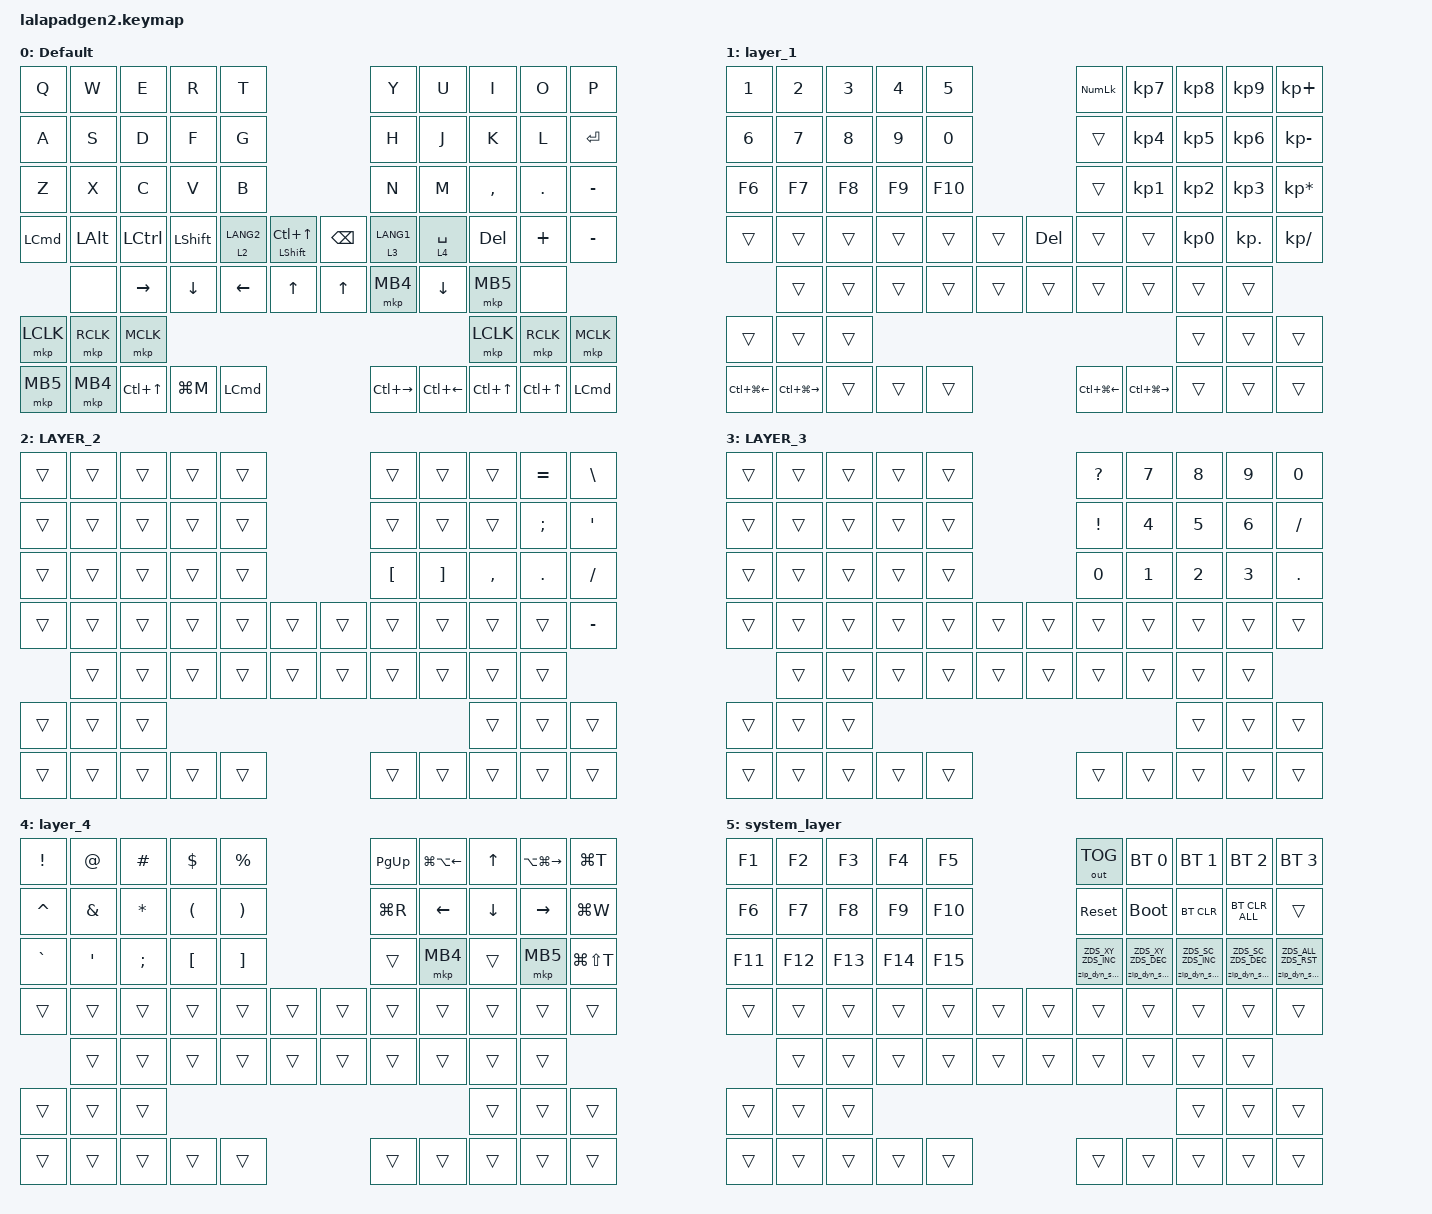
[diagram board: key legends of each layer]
#include <input/processors.dtsi>
#include <dt-bindings/zmk/zip_dynamic_scale.h>
#include <behaviors.dtsi>
#include <dt-bindings/zmk/bt.h>
#include <dt-bindings/zmk/keys.h>
#include <dt-bindings/zmk/outputs.h>
#include <dt-bindings/zmk/pointing.h>

#define DEFAULT_LAYER   0
#define SECONDARY_LAYER 1
#define TERTIARY_LAYER  2
#define SYSTEM_LAYER    3

&mt { quick-tap-ms = <200>; };

&lt { quick-tap-ms = <200>; };

/ {
    behaviors {
        zip_dyn_scale: zip_dyn_scale {
            compatible = "zmk,behavior-zip-dynamic-scale";
            #binding-cells = <2>;
        };

        zip_dyn_scale_set: zip_dyn_scale_set {
            compatible = "zmk,behavior-zip-dynamic-scale-set";
            #binding-cells = <2>;
        };

        mt2: mod_tap2 {
            compatible = "zmk,behavior-hold-tap";
            #binding-cells = <2>;
            flavor = "tap-preferred";
            tapping-term-ms = <200>;
            quick-tap-ms = <200>;
            require-prior-idle-ms = <125>;
            bindings = <&kp>, <&kp>;
        };

        tap_dance_layer_1and2: tap_dance_layer_1and2 {
            compatible = "zmk,behavior-tap-dance";
            label = "td_mo12";
            #binding-cells = <0>;
            bindings = <&mo 1>, <&mo 5>;
        };
    };

    combos {
        compatible = "zmk,combos";

        CONBO_ESC {
            bindings = <&kp ESCAPE>;
            key-positions = <0 1>;
        };

        COMBO_TAB {
            bindings = <&kp TAB>;
            key-positions = <10 11>;
        };
    };

    keymap {
        compatible = "zmk,keymap";

        DEFAULT_LAYER {
            display-name = "Default";
            bindings = <
&kp Q             &kp W         &kp E             &kp R           &kp T                                                         &kp Y                &kp U               &kp I             &kp O             &kp P
&kp A             &kp S         &kp D             &kp F           &kp G                                                         &kp H                &kp J               &kp K             &kp L             &kp ENTER
&kp Z             &kp X         &kp C             &kp V           &kp B                                                         &kp N                &kp M               &kp COMMA         &kp PERIOD        &kp MINUS
&kp LEFT_COMMAND  &kp LEFT_ALT  &kp LCTRL         &kp LEFT_SHIFT  &lt 2 LANG2       &mt LEFT_SHIFT LC(UP_ARROW)  &kp BACKSPACE  &lt 3 LANG1          &lt 4 SPACE         &kp DELETE        &kp PLUS          &kp MINUS
                  &none         &kp RIGHT         &kp DOWN        &kp LEFT          &kp UP                       &kp UP         &mkp MB4             &kp DOWN            &mkp MB5          &none
&mkp LCLK         &mkp RCLK     &mkp MCLK                                                                                                                                &mkp LCLK         &mkp RCLK         &mkp MCLK
&mkp MB5          &mkp MB4      &kp LC(UP_ARROW)  &kp LG(M)       &kp LEFT_COMMAND                                              &kp LC(RIGHT_ARROW)  &kp LC(LEFT_ARROW)  &kp LC(UP_ARROW)  &kp LC(UP_ARROW)  &kp LEFT_COMMAND
            >;
        };

        LAYER_1 {
            display-name = "layer_1";
            bindings = <
&kp NUMBER_1      &kp NUMBER_2       &kp NUMBER_3  &kp NUMBER_4  &kp N5                    &kp KP_NUMLOCK    &kp KP_NUMBER_7    &kp KP_NUMBER_8  &kp KP_NUMBER_9  &kp KP_PLUS
&kp NUMBER_6      &kp N7             &kp N8        &kp N9        &kp N0                    &trans            &kp KP_NUMBER_4    &kp KP_NUMBER_5  &kp KP_NUMBER_6  &kp KP_MINUS
&kp F6            &kp F7             &kp F8        &kp F9        &kp F10                   &trans            &kp KP_NUMBER_1    &kp KP_NUMBER_2  &kp KP_NUMBER_3  &kp KP_ASTERISK
&trans            &trans             &trans        &trans        &trans   &trans  &kp DEL  &trans            &trans             &kp KP_NUMBER_0  &kp KP_DOT       &kp KP_DIVIDE
                  &trans             &trans        &trans        &trans   &trans  &trans   &trans            &trans             &trans           &trans
&trans            &trans             &trans                                                                                     &trans           &trans           &trans
&kp LC(LG(LEFT))  &kp LC(LG(RIGHT))  &trans        &trans        &trans                    &kp LC(LG(LEFT))  &kp LC(LG(RIGHT))  &trans           &trans           &trans
            >;
        };

        LAYER_2 {
            bindings = <
&trans  &trans  &trans  &trans  &trans                  &trans            &trans             &trans     &kp EQUAL      &kp BACKSLASH
&trans  &trans  &trans  &trans  &trans                  &trans            &trans             &trans     &kp SEMICOLON  &kp SINGLE_QUOTE
&trans  &trans  &trans  &trans  &trans                  &kp LEFT_BRACKET  &kp RIGHT_BRACKET  &kp COMMA  &kp PERIOD     &kp SLASH
&trans  &trans  &trans  &trans  &trans  &trans  &trans  &trans            &trans             &trans     &trans         &kp MINUS
        &trans  &trans  &trans  &trans  &trans  &trans  &trans            &trans             &trans     &trans
&trans  &trans  &trans                                                                       &trans     &trans         &trans
&trans  &trans  &trans  &trans  &trans                  &trans            &trans             &trans     &trans         &trans
            >;
        };

        LAYER_3 {
            bindings = <
&trans  &trans  &trans  &trans  &trans                  &kp QUESTION     &kp NUMBER_7  &kp NUMBER_8  &kp NUMBER_9  &kp NUMBER_0
&trans  &trans  &trans  &trans  &trans                  &kp EXCLAMATION  &kp NUMBER_4  &kp NUMBER_5  &kp NUMBER_6  &kp SLASH
&trans  &trans  &trans  &trans  &trans                  &kp NUMBER_0     &kp NUMBER_1  &kp NUMBER_2  &kp NUMBER_3  &kp PERIOD
&trans  &trans  &trans  &trans  &trans  &trans  &trans  &trans           &trans        &trans        &trans        &trans
        &trans  &trans  &trans  &trans  &trans  &trans  &trans           &trans        &trans        &trans
&trans  &trans  &trans                                                                 &trans        &trans        &trans
&trans  &trans  &trans  &trans  &trans                  &trans           &trans        &trans        &trans        &trans
            >;
        };

        LAYER_4 {
            display-name = "layer_4";
            bindings = <
&kp EXCLAMATION  &kp AT_SIGN    &kp HASH      &kp DOLLAR            &kp PERCENT                            &kp PAGE_UP  &kp LG(LA(LEFT_ARROW))  &kp UP_ARROW    &kp LA(LG(RIGHT_ARROW))  &kp LG(T)
&kp CARET        &kp AMPERSAND  &kp ASTERISK  &kp LEFT_PARENTHESIS  &kp RIGHT_PARENTHESIS                  &kp LG(R)    &kp LEFT                &kp DOWN_ARROW  &kp RIGHT                &kp LG(W)
&kp GRAVE        &kp SQT        &kp SEMI      &kp LEFT_BRACKET      &kp RIGHT_BRACKET                      &trans       &mkp MB4                &trans          &mkp MB5                 &kp LG(LS(T))
&trans           &trans         &trans        &trans                &trans                 &trans  &trans  &trans       &trans                  &trans          &trans                   &trans
                 &trans         &trans        &trans                &trans                 &trans  &trans  &trans       &trans                  &trans          &trans
&trans           &trans         &trans                                                                                                          &trans          &trans                   &trans
&trans           &trans         &trans        &trans                &trans                                 &trans       &trans                  &trans          &trans                   &trans
            >;
        };

        SYSTEM_LAYER {
            display-name = "system_layer";
            bindings = <
&kp F1   &kp F2   &kp F3   &kp F4   &kp F5                   &out OUT_TOG                   &bt BT_SEL 0                   &bt BT_SEL 1                   &bt BT_SEL 2                   &bt BT_SEL 3
&kp F6   &kp F7   &kp F8   &kp F9   &kp F10                  &sys_reset                     &bootloader                    &bt BT_CLR                     &bt BT_CLR_ALL                 &trans
&kp F11  &kp F12  &kp F13  &kp F14  &kp F15                  &zip_dyn_scale ZDS_XY ZDS_INC  &zip_dyn_scale ZDS_XY ZDS_DEC  &zip_dyn_scale ZDS_SC ZDS_INC  &zip_dyn_scale ZDS_SC ZDS_DEC  &zip_dyn_scale ZDS_ALL ZDS_RST
&trans   &trans   &trans   &trans   &trans   &trans  &trans  &trans                         &trans                         &trans                         &trans                         &trans
         &trans   &trans   &trans   &trans   &trans  &trans  &trans                         &trans                         &trans                         &trans
&trans   &trans   &trans                                                                                                   &trans                         &trans                         &trans
&trans   &trans   &trans   &trans   &trans                   &trans                         &trans                         &trans                         &trans                         &trans
            >;
        };
    };

    conditional_layers {
        compatible = "zmk,conditional-layers";

        Cond_Syslayer {
            if-layers = <2 3>;
            then-layer = <5>;
        };
    };
};
